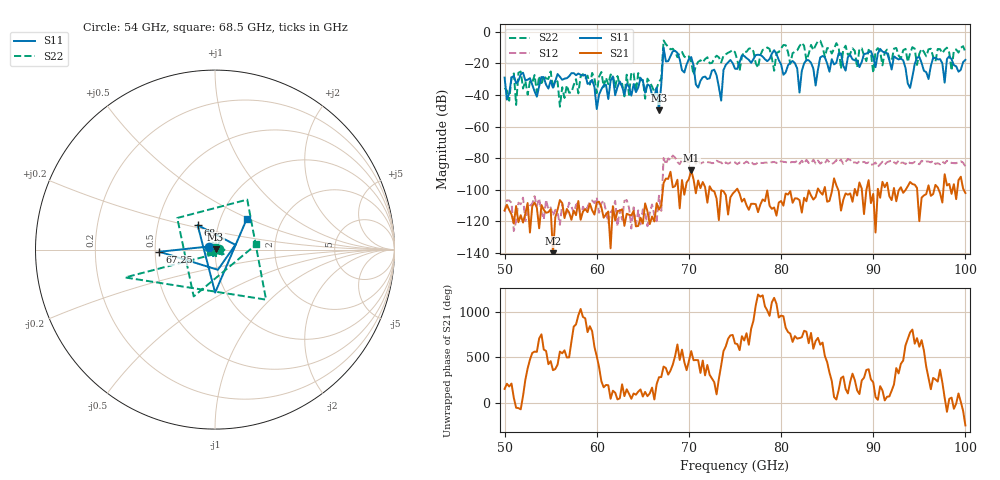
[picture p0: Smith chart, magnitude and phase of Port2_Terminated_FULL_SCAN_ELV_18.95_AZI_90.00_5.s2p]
! 11/25/2026 1:41:13 PM
! C:\ANRITSUVNA\TEMP\TEMP.S2P
! CHANNEL.1
! TR.MEASUREMENT
! RAW.DATA
# HZ S RI R 50.0
! FREQ.HZ  S11RE  S11IM  S21RE  S21IM  S12RE  S12IM  S22RE  S22IM
!; PortSelection: Port_12
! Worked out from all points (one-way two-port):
!   201 points, 50 GHz to 100 GHz, reference 50 ohm
!   highest |S21| = -87.78 dB at 70.25 GHz (marker M1); lowest = -140.0 dB at 55.25 GHz (marker M2)
!   lowest |S11| = -49.7 dB at 66.75 GHz (marker M3), VSWR 1.01, Z = 50.3 + j0.0714 ohm
!   |S11| at or under -10 dB: start of sweep to end of sweep
!   |S22| runs from -47.5 to -5.6 dB; largest |S21 - S12| = 0.00015
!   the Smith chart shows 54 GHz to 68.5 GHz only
!   S11 on the Smith chart (normalised r, x): 54 GHz: 0.93, +0.03; 67.25 GHz: 0.53, -0.01; 68 GHz: 0.80, +0.22; 68.5 GHz: 1.33, +0.49
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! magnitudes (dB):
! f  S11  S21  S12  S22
! 50 GHz  -29.1  -113.0  -114.0  -35.6
! 54 GHz  -28.7  -109.6  -114.0  -33.8
! 55.25 GHz  -35.5  -140.0  -116.5  -36.2
! 58.5 GHz  -27.7  -113.8  -110.7  -26.9
! 60 GHz  -49.0  -107.9  -104.9  -38.9
! 61.75 GHz  -28.4  -110.3  -112.1  -27.6
! 66.75 GHz  -49.7  -112.6  -103.7  -31.9
! 67.25 GHz  -10.2  -95.7  -79.9  -5.6
! 68 GHz  -15.5  -88.6  -81.1  -11.2
! 68.5 GHz  -12.1  -97.6  -79.6  -12.7
! 70.25 GHz  -16.1  -87.8  -78.8  -19.2
! 73.5 GHz  -43.6  -100.3  -82.7  -19.6
! 73.75 GHz  -24.3  -100.9  -84.1  -15.3
! 75 GHz  -23.5  -100.9  -82.7  -13.0
! 79.25 GHz  -11.8  -111.2  -82.4  -24.8
! 82 GHz  -38.5  -106.5  -83.6  -9.2
! 83.5 GHz  -23.3  -106.2  -80.9  -11.7
! 91.75 GHz  -18.1  -104.1  -82.0  -17.5
! 94 GHz  -35.6  -95.1  -83.1  -13.7
! 94.75 GHz  -16.5  -98.8  -83.2  -21.1
! 97.75 GHz  -32.3  -90.1  -83.3  -11.4
! 100 GHz  -17.9  -102.0  -85.1  -12.9
